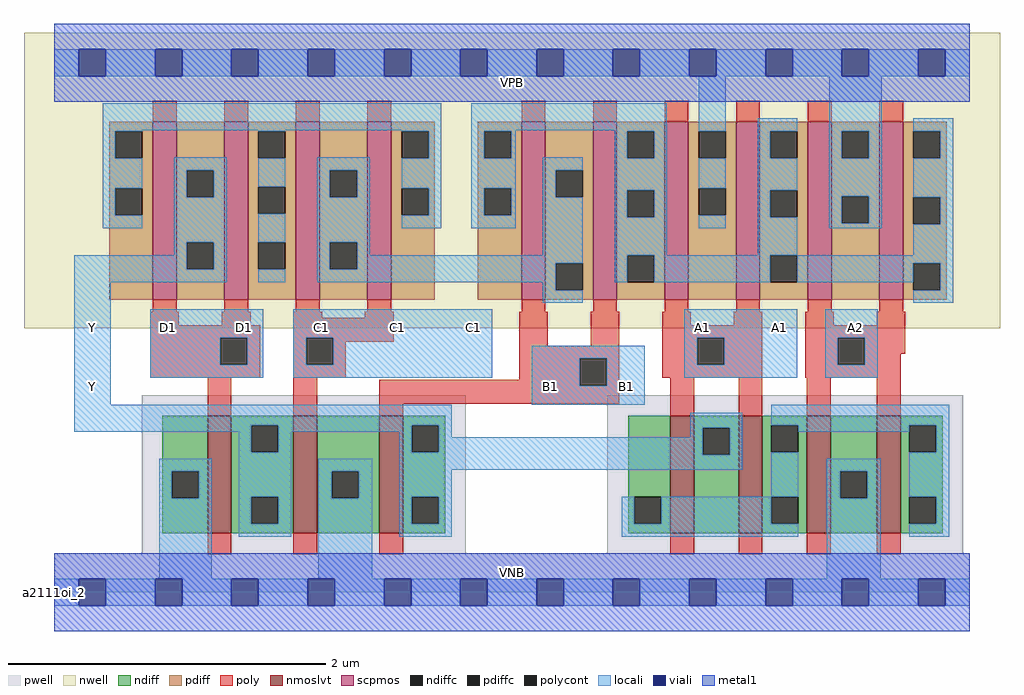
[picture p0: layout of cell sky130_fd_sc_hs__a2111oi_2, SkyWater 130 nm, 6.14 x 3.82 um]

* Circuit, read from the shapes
.subckt sky130_fd_sc_hs__a2111oi_2 A1 A2 B1 C1 D1 VGND VNB VPB VPWR Y
XM1 Y D1 VGND VNB sky130_fd_pr__nfet_01v8_lvt w=0.74 l=0.15
XM2 VGND C1 Y VNB sky130_fd_pr__nfet_01v8_lvt w=0.74 l=0.15
XM3 Y B1 VGND VNB sky130_fd_pr__nfet_01v8_lvt w=0.74 l=0.15
XM4 Y A1 n1 VNB sky130_fd_pr__nfet_01v8_lvt w=0.74 l=0.15 m=2
XM5 VGND A2 n1 VNB sky130_fd_pr__nfet_01v8_lvt w=0.74 l=0.15 m=2
XM6 Y D1 n2 VPB sky130_fd_pr__pfet_01v8 w=1.12 l=0.15 m=2
XM7 n3 C1 n2 VPB sky130_fd_pr__pfet_01v8 w=1.12 l=0.15 m=2
XM8 n3 B1 n4 VPB sky130_fd_pr__pfet_01v8 w=1.12 l=0.15 m=2
XM9 VPWR A1 n4 VPB sky130_fd_pr__pfet_01v8 w=1.12 l=0.15 m=2
XM10 VPWR A2 n4 VPB sky130_fd_pr__pfet_01v8 w=1.12 l=0.15 m=2
.ends

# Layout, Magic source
magic
tech sky130A
magscale 1 2
<< nwell >>
rect -38 332 1190 704
<< pwell >>
rect 110 49 518 248
rect 696 49 1144 248
rect 0 0 1152 49
<< scpmos >>
rect 124 368 154 592
rect 214 368 244 592
rect 304 368 334 592
rect 394 368 424 592
rect 588 368 618 592
rect 678 368 708 592
rect 768 368 798 592
rect 858 368 888 592
rect 948 368 978 592
rect 1038 368 1068 592
<< nmoslvt >>
rect 193 74 223 222
rect 301 74 331 222
rect 409 74 439 222
rect 775 74 805 222
rect 861 74 891 222
rect 947 74 977 222
rect 1035 74 1065 222
<< ndiff >>
rect 136 152 193 222
rect 136 118 148 152
rect 182 118 193 152
rect 136 74 193 118
rect 223 210 301 222
rect 223 176 248 210
rect 282 176 301 210
rect 223 120 301 176
rect 223 86 248 120
rect 282 86 301 120
rect 223 74 301 86
rect 331 152 409 222
rect 331 118 349 152
rect 383 118 409 152
rect 331 74 409 118
rect 439 210 492 222
rect 439 176 450 210
rect 484 176 492 210
rect 439 120 492 176
rect 439 86 450 120
rect 484 86 492 120
rect 439 74 492 86
rect 722 120 775 222
rect 722 86 730 120
rect 764 86 775 120
rect 722 74 775 86
rect 805 207 861 222
rect 805 173 816 207
rect 850 173 861 207
rect 805 74 861 173
rect 891 210 947 222
rect 891 176 902 210
rect 936 176 947 210
rect 891 120 947 176
rect 891 86 902 120
rect 936 86 947 120
rect 891 74 947 86
rect 977 152 1035 222
rect 977 118 989 152
rect 1023 118 1035 152
rect 977 74 1035 118
rect 1065 210 1118 222
rect 1065 176 1076 210
rect 1110 176 1118 210
rect 1065 120 1118 176
rect 1065 86 1076 120
rect 1110 86 1118 120
rect 1065 74 1118 86
<< pdiff >>
rect 69 580 124 592
rect 69 546 77 580
rect 111 546 124 580
rect 69 508 124 546
rect 69 474 77 508
rect 111 474 124 508
rect 69 368 124 474
rect 154 531 214 592
rect 154 497 167 531
rect 201 497 214 531
rect 154 440 214 497
rect 154 406 167 440
rect 201 406 214 440
rect 154 368 214 406
rect 244 580 304 592
rect 244 546 257 580
rect 291 546 304 580
rect 244 510 304 546
rect 244 476 257 510
rect 291 476 304 510
rect 244 440 304 476
rect 244 406 257 440
rect 291 406 304 440
rect 244 368 304 406
rect 334 531 394 592
rect 334 497 347 531
rect 381 497 394 531
rect 334 440 394 497
rect 334 406 347 440
rect 381 406 394 440
rect 334 368 394 406
rect 424 580 479 592
rect 424 546 437 580
rect 471 546 479 580
rect 424 508 479 546
rect 424 474 437 508
rect 471 474 479 508
rect 424 368 479 474
rect 533 580 588 592
rect 533 546 541 580
rect 575 546 588 580
rect 533 508 588 546
rect 533 474 541 508
rect 575 474 588 508
rect 533 368 588 474
rect 618 531 678 592
rect 618 497 631 531
rect 665 497 678 531
rect 618 414 678 497
rect 618 380 631 414
rect 665 380 678 414
rect 618 368 678 380
rect 708 580 768 592
rect 708 546 721 580
rect 755 546 768 580
rect 708 506 768 546
rect 708 472 721 506
rect 755 472 768 506
rect 708 424 768 472
rect 708 390 721 424
rect 755 390 768 424
rect 708 368 768 390
rect 798 580 858 592
rect 798 546 811 580
rect 845 546 858 580
rect 798 508 858 546
rect 798 474 811 508
rect 845 474 858 508
rect 798 368 858 474
rect 888 580 948 592
rect 888 546 901 580
rect 935 546 948 580
rect 888 506 948 546
rect 888 472 901 506
rect 935 472 948 506
rect 888 424 948 472
rect 888 390 901 424
rect 935 390 948 424
rect 888 368 948 390
rect 978 580 1038 592
rect 978 546 991 580
rect 1025 546 1038 580
rect 978 498 1038 546
rect 978 464 991 498
rect 1025 464 1038 498
rect 978 368 1038 464
rect 1068 580 1123 592
rect 1068 546 1081 580
rect 1115 546 1123 580
rect 1068 497 1123 546
rect 1068 463 1081 497
rect 1115 463 1123 497
rect 1068 414 1123 463
rect 1068 380 1081 414
rect 1115 380 1123 414
rect 1068 368 1123 380
<< ndiffc >>
rect 148 118 182 152
rect 248 176 282 210
rect 248 86 282 120
rect 349 118 383 152
rect 450 176 484 210
rect 450 86 484 120
rect 730 86 764 120
rect 816 173 850 207
rect 902 176 936 210
rect 902 86 936 120
rect 989 118 1023 152
rect 1076 176 1110 210
rect 1076 86 1110 120
<< pdiffc >>
rect 77 546 111 580
rect 77 474 111 508
rect 167 497 201 531
rect 167 406 201 440
rect 257 546 291 580
rect 257 476 291 510
rect 257 406 291 440
rect 347 497 381 531
rect 347 406 381 440
rect 437 546 471 580
rect 437 474 471 508
rect 541 546 575 580
rect 541 474 575 508
rect 631 497 665 531
rect 631 380 665 414
rect 721 546 755 580
rect 721 472 755 506
rect 721 390 755 424
rect 811 546 845 580
rect 811 474 845 508
rect 901 546 935 580
rect 901 472 935 506
rect 901 390 935 424
rect 991 546 1025 580
rect 991 464 1025 498
rect 1081 546 1115 580
rect 1081 463 1115 497
rect 1081 380 1115 414
<< poly >>
rect 124 592 154 618
rect 214 592 244 618
rect 304 592 334 618
rect 394 592 424 618
rect 588 592 618 618
rect 678 592 708 618
rect 768 592 798 618
rect 858 592 888 618
rect 948 592 978 618
rect 1038 592 1068 618
rect 124 353 154 368
rect 214 353 244 368
rect 304 353 334 368
rect 394 353 424 368
rect 588 353 618 368
rect 678 353 708 368
rect 768 353 798 368
rect 858 353 888 368
rect 948 353 978 368
rect 1038 353 1068 368
rect 121 336 157 353
rect 211 336 247 353
rect 301 345 337 353
rect 391 345 427 353
rect 121 320 259 336
rect 121 286 209 320
rect 243 286 259 320
rect 121 270 259 286
rect 301 320 427 345
rect 301 286 317 320
rect 351 315 427 320
rect 351 286 367 315
rect 301 270 367 286
rect 585 310 621 353
rect 675 310 711 353
rect 585 294 711 310
rect 193 222 223 270
rect 301 222 331 270
rect 585 267 661 294
rect 409 260 661 267
rect 695 260 711 294
rect 765 336 801 353
rect 855 336 891 353
rect 765 320 891 336
rect 765 286 809 320
rect 843 286 891 320
rect 765 270 891 286
rect 945 336 981 353
rect 1035 336 1071 353
rect 945 320 1071 336
rect 945 286 986 320
rect 1020 300 1071 320
rect 1020 286 1065 300
rect 945 270 1065 286
rect 409 237 711 260
rect 409 222 439 237
rect 775 222 805 270
rect 861 222 891 270
rect 947 222 977 270
rect 1035 222 1065 270
rect 193 48 223 74
rect 301 48 331 74
rect 409 48 439 74
rect 775 48 805 74
rect 861 48 891 74
rect 947 48 977 74
rect 1035 48 1065 74
<< polycont >>
rect 209 286 243 320
rect 317 286 351 320
rect 661 260 695 294
rect 809 286 843 320
rect 986 286 1020 320
<< locali >>
rect 0 649 31 683
rect 65 649 127 683
rect 161 649 223 683
rect 257 649 319 683
rect 353 649 415 683
rect 449 649 511 683
rect 545 649 607 683
rect 641 649 703 683
rect 737 649 799 683
rect 833 649 895 683
rect 929 649 991 683
rect 1025 649 1087 683
rect 1121 649 1152 683
rect 61 581 487 615
rect 61 580 111 581
rect 61 546 77 580
rect 257 580 291 581
rect 61 508 111 546
rect 61 474 77 508
rect 61 458 111 474
rect 151 531 217 547
rect 151 497 167 531
rect 201 497 217 531
rect 151 440 217 497
rect 151 424 167 440
rect 25 406 167 424
rect 201 406 217 440
rect 25 390 217 406
rect 437 580 487 581
rect 257 510 291 546
rect 257 440 291 476
rect 257 390 291 406
rect 331 531 397 547
rect 331 497 347 531
rect 381 497 397 531
rect 331 440 397 497
rect 471 546 487 580
rect 437 508 487 546
rect 471 474 487 508
rect 437 458 487 474
rect 525 581 771 615
rect 525 580 581 581
rect 525 546 541 580
rect 575 546 581 580
rect 705 580 771 581
rect 525 508 581 546
rect 525 474 541 508
rect 575 474 581 508
rect 525 458 581 474
rect 615 531 665 547
rect 615 497 631 531
rect 331 406 347 440
rect 381 424 397 440
rect 615 424 665 497
rect 381 414 665 424
rect 381 406 631 414
rect 331 390 631 406
rect 25 236 71 390
rect 615 380 631 390
rect 705 546 721 580
rect 755 546 771 580
rect 705 506 771 546
rect 705 472 721 506
rect 755 472 771 506
rect 705 424 771 472
rect 811 580 845 649
rect 811 508 845 546
rect 811 458 845 474
rect 885 580 935 596
rect 885 546 901 580
rect 885 506 935 546
rect 885 472 901 506
rect 885 424 935 472
rect 975 580 1041 649
rect 975 546 991 580
rect 1025 546 1041 580
rect 975 498 1041 546
rect 975 464 991 498
rect 1025 464 1041 498
rect 975 458 1041 464
rect 1081 580 1131 596
rect 1115 546 1131 580
rect 1081 497 1131 546
rect 1115 463 1131 497
rect 1081 424 1131 463
rect 705 390 721 424
rect 755 390 901 424
rect 935 414 1131 424
rect 935 390 1081 414
rect 615 364 665 380
rect 1115 380 1131 414
rect 1081 364 1131 380
rect 121 320 263 356
rect 121 286 209 320
rect 243 286 263 320
rect 121 270 263 286
rect 301 320 551 356
rect 301 286 317 320
rect 351 286 551 320
rect 793 320 935 356
rect 301 270 551 286
rect 601 294 743 310
rect 601 260 661 294
rect 695 260 743 294
rect 793 286 809 320
rect 843 286 935 320
rect 793 270 935 286
rect 970 320 1036 356
rect 970 286 986 320
rect 1020 286 1036 320
rect 970 270 1036 286
rect 601 236 743 260
rect 25 210 500 236
rect 25 202 248 210
rect 232 176 248 202
rect 282 202 450 210
rect 282 176 298 202
rect 132 152 198 168
rect 132 118 148 152
rect 182 118 198 152
rect 132 17 198 118
rect 232 120 298 176
rect 434 176 450 202
rect 484 195 500 210
rect 800 207 866 226
rect 800 195 816 207
rect 484 176 816 195
rect 434 173 816 176
rect 850 173 866 207
rect 232 86 248 120
rect 282 86 298 120
rect 232 70 298 86
rect 332 152 400 168
rect 332 118 349 152
rect 383 118 400 152
rect 332 17 400 118
rect 434 154 866 173
rect 902 210 1126 236
rect 936 202 1076 210
rect 434 120 500 154
rect 902 120 936 176
rect 1110 176 1126 210
rect 434 86 450 120
rect 484 86 500 120
rect 434 70 500 86
rect 714 86 730 120
rect 764 86 902 120
rect 714 70 936 86
rect 972 152 1040 168
rect 972 118 989 152
rect 1023 118 1040 152
rect 972 17 1040 118
rect 1076 120 1126 176
rect 1110 86 1126 120
rect 1076 70 1126 86
rect 0 -17 31 17
rect 65 -17 127 17
rect 161 -17 223 17
rect 257 -17 319 17
rect 353 -17 415 17
rect 449 -17 511 17
rect 545 -17 607 17
rect 641 -17 703 17
rect 737 -17 799 17
rect 833 -17 895 17
rect 929 -17 991 17
rect 1025 -17 1087 17
rect 1121 -17 1152 17
<< viali >>
rect 31 649 65 683
rect 127 649 161 683
rect 223 649 257 683
rect 319 649 353 683
rect 415 649 449 683
rect 511 649 545 683
rect 607 649 641 683
rect 703 649 737 683
rect 799 649 833 683
rect 895 649 929 683
rect 991 649 1025 683
rect 1087 649 1121 683
rect 31 -17 65 17
rect 127 -17 161 17
rect 223 -17 257 17
rect 319 -17 353 17
rect 415 -17 449 17
rect 511 -17 545 17
rect 607 -17 641 17
rect 703 -17 737 17
rect 799 -17 833 17
rect 895 -17 929 17
rect 991 -17 1025 17
rect 1087 -17 1121 17
<< metal1 >>
rect 0 683 1152 715
rect 0 649 31 683
rect 65 649 127 683
rect 161 649 223 683
rect 257 649 319 683
rect 353 649 415 683
rect 449 649 511 683
rect 545 649 607 683
rect 641 649 703 683
rect 737 649 799 683
rect 833 649 895 683
rect 929 649 991 683
rect 1025 649 1087 683
rect 1121 649 1152 683
rect 0 617 1152 649
rect 0 17 1152 49
rect 0 -17 31 17
rect 65 -17 127 17
rect 161 -17 223 17
rect 257 -17 319 17
rect 353 -17 415 17
rect 449 -17 511 17
rect 545 -17 607 17
rect 641 -17 703 17
rect 737 -17 799 17
rect 833 -17 895 17
rect 929 -17 991 17
rect 1025 -17 1087 17
rect 1121 -17 1152 17
rect 0 -49 1152 -17
<< labels >>
rlabel comment s 0 0 0 0 4 a2111oi_2
flabel pwell s 0 0 1152 49 0 FreeSans 200 0 0 0 VNB
port 7 nsew ground bidirectional
flabel nwell s 0 617 1152 666 0 FreeSans 200 0 0 0 VPB
port 8 nsew power bidirectional
flabel metal1 s 0 617 1152 666 0 FreeSans 340 0 0 0 VPWR
port 9 nsew power bidirectional
flabel metal1 s 0 0 1152 49 0 FreeSans 340 0 0 0 VGND
port 6 nsew ground bidirectional
flabel locali s 127 316 161 350 0 FreeSans 340 0 0 0 D1
port 5 nsew signal input
flabel locali s 223 316 257 350 0 FreeSans 340 0 0 0 D1
port 5 nsew signal input
flabel locali s 607 242 641 276 0 FreeSans 340 0 0 0 B1
port 3 nsew signal input
flabel locali s 703 242 737 276 0 FreeSans 340 0 0 0 B1
port 3 nsew signal input
flabel locali s 31 242 65 276 0 FreeSans 340 0 0 0 Y
port 10 nsew signal output
flabel locali s 31 316 65 350 0 FreeSans 340 0 0 0 Y
port 10 nsew signal output
flabel locali s 319 316 353 350 0 FreeSans 340 0 0 0 C1
port 4 nsew signal input
flabel locali s 415 316 449 350 0 FreeSans 340 0 0 0 C1
port 4 nsew signal input
flabel locali s 511 316 545 350 0 FreeSans 340 0 0 0 C1
port 4 nsew signal input
flabel locali s 991 316 1025 350 0 FreeSans 340 0 0 0 A2
port 2 nsew signal input
flabel locali s 799 316 833 350 0 FreeSans 340 0 0 0 A1
port 1 nsew signal input
flabel locali s 895 316 929 350 0 FreeSans 340 0 0 0 A1
port 1 nsew signal input
<< properties >>
string LEFsite unit
string LEFclass CORE
string FIXED_BBOX 0 0 1152 666
string GDS_FILE $PDKPATH/libs.ref/sky130_fd_sc_hs/gds/sky130_fd_sc_hs.gds
string LEFsymmetry X Y
string GDS_END 2857810
string GDS_START 2847898
<< end >>
